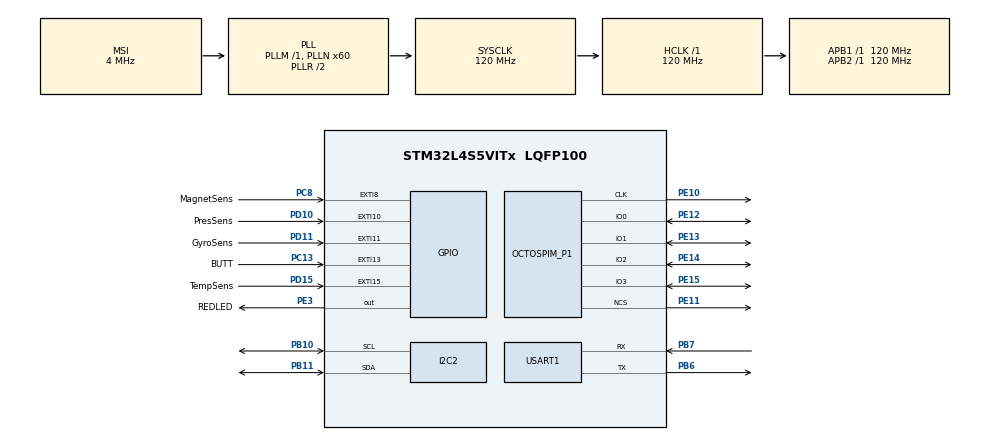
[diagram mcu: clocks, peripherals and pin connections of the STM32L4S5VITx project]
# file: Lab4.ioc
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FREERTOS.Tasks01=Read_Task,0,512,StartRead_Task,Default,NULL,Dynamic,NULL,NULL;UART_Transmit,0,512,StartUART_Transmit,Default,NULL,Dynamic,NULL,NULL;Button_Task,0,512,StartButton_Task,Default,NULL,Dynamic,NULL,NULL
FREERTOS.configTOTAL_HEAP_SIZE=8192
FREERTOS.configUSE_NEWLIB_REENTRANT=1
I2C2.Timing=0x307075B1
Mcu.Family=STM32L4
Mcu.Name=STM32L4S5VITx
Mcu.Package=LQFP100
NVIC.EXTI15_10_IRQn=true\:5\:0\:false\:false\:true\:true\:true\:true\:true
NVIC.PriorityGroup=NVIC_PRIORITYGROUP_4
NVIC.TIM6_DAC_IRQn=true\:15\:0\:true\:false\:true\:false\:false\:true\:true
NVIC.TimeBase=TIM6_DAC_IRQn
NVIC.TimeBaseIP=TIM6
PB10.Mode=I2C
PB10.Signal=I2C2_SCL
PB11.Mode=I2C
PB11.Signal=I2C2_SDA
PB6.Mode=Asynchronous
PB6.Signal=USART1_TX
PB7.Mode=Asynchronous
PB7.Signal=USART1_RX
PC13.GPIO_Label=BUTT
PC13.Signal=GPXTI13
PC8.GPIO_Label=MagnetSens
PC8.Signal=GPXTI8
PD10.GPIO_Label=PresSens
PD10.Signal=GPXTI10
PD11.GPIO_Label=GyroSens
PD11.Signal=GPXTI11
PD15.GPIO_Label=TempSens
PD15.Signal=GPXTI15
PE10.Mode=O1_P1_CLK
PE10.Signal=OCTOSPIM_P1_CLK
PE11.Mode=OCTOSPI1_Port1_NCS
PE11.Signal=OCTOSPIM_P1_NCS
PE12.Mode=OCTOSPI1_IOL_Port1L
PE12.Signal=OCTOSPIM_P1_IO0
PE13.Mode=OCTOSPI1_IOL_Port1L
PE13.Signal=OCTOSPIM_P1_IO1
PE14.Mode=OCTOSPI1_IOL_Port1L
PE14.Signal=OCTOSPIM_P1_IO2
PE15.Mode=OCTOSPI1_IOL_Port1L
PE15.Signal=OCTOSPIM_P1_IO3
PE3.GPIO_Label=REDLED
PE3.Signal=GPIO_Output
ProjectManager.HeapSize=0x200
ProjectManager.StackSize=0x400
ProjectManager.TargetToolchain=STM32CubeIDE
RCC.ADCFreq_Value=48000000
RCC.AHBFreq_Value=120000000
RCC.APB1Freq_Value=120000000
RCC.APB1TimFreq_Value=120000000
RCC.APB2Freq_Value=120000000
RCC.APB2TimFreq_Value=120000000
RCC.CortexFreq_Value=120000000
RCC.HCLKFreq_Value=120000000
RCC.HSE_VALUE=8000000
RCC.HSI48_VALUE=48000000
RCC.HSI_VALUE=16000000
RCC.LSE_VALUE=32768
RCC.MSI_VALUE=4000000
RCC.PLLN=60
RCC.PLLSAI1N=24
RCC.SYSCLKFreq_VALUE=120000000
RCC.SYSCLKSource=RCC_SYSCLKSOURCE_PLLCLK
RCC.USBFreq_Value=48000000
RCC.VCOOutputFreq_Value=240000000
USART1.VirtualMode-Asynchronous=VM_ASYNC
VP_FREERTOS_VS_CMSIS_V1.Mode=CMSIS_V1
VP_OCTOSPI1_VS_quad.Mode=quad_mode
VP_SYS_VS_tim6.Mode=TIM6
board=B-L4S5I-IOT01A

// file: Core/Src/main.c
/* USER CODE BEGIN Header */
/**
  ******************************************************************************
  * @file           : main.c
  * @brief          : Main program body
  ******************************************************************************
  * @attention
  *
  * Copyright (c) 2023 STMicroelectronics.
  * All rights reserved.
  *
  * This software is licensed under terms that can be found in the LICENSE file
  * in the root directory of this software component.
  * If no LICENSE file comes with this software, it is provided AS-IS.
  *
  ******************************************************************************
  */
/* USER CODE END Header */
#include "main.h"
#include "cmsis_os.h"

/* USER CODE BEGIN Includes */
#include "stdio.h"
#include "string.h"
#include "stdlib.h"
#include "stm32l4s5i_iot01_tsensor.h"
#include "stm32l4s5i_iot01_magneto.h"
#include "stm32l4s5i_iot01_psensor.h"
#include "stm32l4s5i_iot01_accelero.h"

#include "stm32l4s5i_iot01_qspi.h"
/* USER CODE END Includes */

/* USER CODE BEGIN PD */
#define MEMORY_WRITE_ADDR	0x08000020UL

/* USER CODE END PD */

I2C_HandleTypeDef hi2c2;

OSPI_HandleTypeDef hospi1;

UART_HandleTypeDef huart1;

osThreadId Read_TaskHandle;
osThreadId UART_TransmitHandle;
osThreadId Button_TaskHandle;
/* USER CODE BEGIN PV */

/**************************** PART 1 AND PART 2 VARIABLES ******************/
uint8_t txbuffer[64];

int sensorNum = 0;

float temp;
int16_t magnet[3];
float pressure;
int16_t accel[3];

/**************************** PART 3 VARIABLES ****************************/
uint8_t *writeBuf = "6";

/**************************** PART 4 VARIABLES ****************************/

uint8_t tempBuf[11];
uint8_t tempBuf2[50];
uint8_t tempBuf3[250];
long tempWriteCnt = 0;
long tempReadCnt = 0;
int tempVals = 0;
float tempAvg = 0;
float tempSum = 0;
float tempVariance = 0;
uint8_t readBufTemp[11];

uint8_t magnetBufX[5];
uint8_t magnetBufY[5];
uint8_t magnetBufZ[5];
uint8_t magnetBuf2[60];
uint8_t magnetBuf3[350];
long magnetWriteCntX = 4096;
long magnetWriteCntY = 5461;
long magnetWriteCntZ = 6826;
long magnetReadCntX = 4096;
long magnetReadCntY = 5461;
long magnetReadCntZ = 6826;
int magnetVals = 0;
float magnetAvgX = 0;
float magnetAvgY = 0;
float magnetAvgZ = 0;
float magnetSumX = 0;
float magnetSumY = 0;
float magnetSumZ = 0;
float magnetVarianceX = 0;
float magnetVarianceY = 0;
float magnetVarianceZ = 0;
uint8_t readBufMagnetX[5];
uint8_t readBufMagnetY[5];
uint8_t readBufMagnetZ[5];

uint8_t presBuf[11];
uint8_t presBuf2[50];
uint8_t presBuf3[200];
long presWriteCnt = 8192;
long presReadCnt = 8192;
int presVals = 0;
float presAvg = 0;
float presSum = 0;
float presVariance = 0;
uint8_t readBufPres[11];

uint8_t accelBufX[5];
uint8_t accelBufY[5];
uint8_t accelBufZ[5];
uint8_t accelBuf2[60];
uint8_t accelBuf3[250];
long accelWriteCntX = 12288;
long accelWriteCntY = 13653;
long accelWriteCntZ = 15018;
long accelReadCntX = 12288;
long accelReadCntY = 13653;
long accelReadCntZ = 15018;
int accelVals = 0;
float accelAvgX = 0;
float accelAvgY = 0;
float accelAvgZ = 0;
float accelSumX = 0;
float accelSumY = 0;
float accelSumZ = 0;
float accelVarianceX = 0;
float accelVarianceY = 0;
float accelVarianceZ = 0;
uint8_t readBufAccelX[5];
uint8_t readBufAccelY[5];
uint8_t readBufAccelZ[5];
/* USER CODE END PV */

void SystemClock_Config(void);
static void MX_GPIO_Init(void);
static void MX_I2C2_Init(void);
static void MX_USART1_UART_Init(void);
static void MX_OCTOSPI1_Init(void);
void StartRead_Task(void const * argument);
void StartUART_Transmit(void const * argument);
void StartButton_Task(void const * argument);

int main(void)
{

  /* MCU Configuration--------------------------------------------------------*/

  /* Reset of all peripherals, Initializes the Flash interface and the Systick. */
  HAL_Init();

  /* Configure the system clock */
  SystemClock_Config();

  /* Initialize all configured peripherals */
  MX_GPIO_Init();
  MX_I2C2_Init();
  MX_USART1_UART_Init();
  MX_OCTOSPI1_Init();
  /* USER CODE BEGIN 2 */

  /* Initialize BSP Peripherals */
  if(BSP_TSENSOR_Init() != TSENSOR_OK){
	  Error_Handler();
  }
  if(BSP_MAGNETO_Init() != MAGNETO_OK){
	  Error_Handler();
  }
  if(BSP_PSENSOR_Init() != PSENSOR_OK){
	  Error_Handler();
  }
  if(BSP_ACCELERO_Init() != ACCELERO_OK){
	  Error_Handler();
  }

  /* Initialize QSPI */
  if(BSP_QSPI_Init() != QSPI_OK){
	  Error_Handler();
  }

  HAL_GPIO_WritePin(REDLED_GPIO_Port, REDLED_Pin, GPIO_PIN_SET);

  //Clear sector for temp values
  if (BSP_QSPI_Erase_Block(0) != QSPI_OK){
      Error_Handler();
  }

  /* USER CODE END 2 */

  /* Create the thread(s) */
  /* definition and creation of Read_Task */
  osThreadDef(Read_Task, StartRead_Task, osPriorityNormal, 0, 512);
  Read_TaskHandle = osThreadCreate(osThread(Read_Task), NULL);

  /* definition and creation of UART_Transmit */
  osThreadDef(UART_Transmit, StartUART_Transmit, osPriorityNormal, 0, 512);
  UART_TransmitHandle = osThreadCreate(osThread(UART_Transmit), NULL);

  /* definition and creation of Button_Task */
  osThreadDef(Button_Task, StartButton_Task, osPriorityNormal, 0, 512);
  Button_TaskHandle = osThreadCreate(osThread(Button_Task), NULL);

  /* Start scheduler */
  osKernelStart();

  /* We should never get here as control is now taken by the scheduler */
  /* Infinite loop */
  /* USER CODE BEGIN WHILE */

  //HAL_GPIO_WritePin(REDLED_GPIO_Port, REDLED_Pin, GPIO_PIN_RESET);

//  if (BSP_QSPI_Erase_Block(0) != QSPI_OK){
//	  Error_Handler();
//  }
//
//  if (BSP_QSPI_Write(writeBuf, 0, strlen(writeBuf)) != QSPI_OK){
//	  Error_Handler();
//  }
//
//  if (BSP_QSPI_Read(readBuf, 0, strlen((char*)writeBuf)) != QSPI_OK){
//	  Error_Handler();
//  }
//  HAL_UART_Transmit(&huart1, readBuf, strlen((char*)readBuf), HAL_MAX_DELAY);
  while (1)
  {
    /* USER CODE END WHILE */

    /* USER CODE BEGIN 3 */
//	  // If 0, Temperature sensor is active
//	  if(sensorNum == 0){
//		  temp = BSP_TSENSOR_ReadTemp();
//		  sprintf((char*)txbuffer, "Temperature: %f\r\n", temp);
//		  HAL_UART_Transmit(&huart1, txbuffer, strlen((char*)txbuffer), HAL_MAX_DELAY);
//	  }
//	  // If 1, Magnetometer is active
//	  if(sensorNum == 1){
//		  BSP_MAGNETO_GetXYZ(magnet);
//		  sprintf((char*)txbuffer, "Magnetometer: %d, %d, %d\r\n", magnet[0], magnet[1], magnet[2]);
//		  HAL_UART_Transmit(&huart1, txbuffer, strlen((char*)txbuffer), HAL_MAX_DELAY);
//	  }
//	  // If 2, Pressure sensor is active
//	  if(sensorNum == 2){
//		  pressure = BSP_PSENSOR_ReadPressure();
//		  sprintf((char*)txbuffer, "Pressure: %f\r\n", pressure);
//		  HAL_UART_Transmit(&huart1, txbuffer, strlen((char*)txbuffer), HAL_MAX_DELAY);
//	  }
//	  // If 3, Accelerometer is active
//	  if(sensorNum == 3){
//		  BSP_ACCELERO_AccGetXYZ(accel);
//		  sprintf((char*)txbuffer, "Accelerometer: %d, %d, %d\r\n", accel[0], accel[1], accel[2]);
//		  HAL_UART_Transmit(&huart1, txbuffer, strlen((char*)txbuffer), HAL_MAX_DELAY);
//	  }
//	  HAL_Delay(100);

	  /************* PART 4 TESTING **********************/
//	  if(dataMode == 0){
//		  temp = BSP_TSENSOR_ReadTemp();
//		  sprintf((char*)tempBuf, "%f\r\n", temp);
//		  HAL_UART_Transmit(&huart1, tempBuf, strlen((char*)tempBuf), HAL_MAX_DELAY);
//	  }
	  //HAL_Delay(100);

  }
  /* USER CODE END 3 */
}

void SystemClock_Config(void)
{
  RCC_OscInitTypeDef RCC_OscInitStruct = {0};
  RCC_ClkInitTypeDef RCC_ClkInitStruct = {0};

  /** Configure the main internal regulator output voltage
  */
  if (HAL_PWREx_ControlVoltageScaling(PWR_REGULATOR_VOLTAGE_SCALE1_BOOST) != HAL_OK)
  {
    Error_Handler();
  }

  /** Initializes the RCC Oscillators according to the specified parameters
  * in the RCC_OscInitTypeDef structure.
  */
  RCC_OscInitStruct.OscillatorType = RCC_OSCILLATORTYPE_MSI;
  RCC_OscInitStruct.MSIState = RCC_MSI_ON;
  RCC_OscInitStruct.MSICalibrationValue = 0;
  RCC_OscInitStruct.MSIClockRange = RCC_MSIRANGE_6;
  RCC_OscInitStruct.PLL.PLLState = RCC_PLL_ON;
  RCC_OscInitStruct.PLL.PLLSource = RCC_PLLSOURCE_MSI;
  RCC_OscInitStruct.PLL.PLLM = 1;
  RCC_OscInitStruct.PLL.PLLN = 60;
  RCC_OscInitStruct.PLL.PLLP = RCC_PLLP_DIV2;
  RCC_OscInitStruct.PLL.PLLQ = RCC_PLLQ_DIV2;
  RCC_OscInitStruct.PLL.PLLR = RCC_PLLR_DIV2;
  if (HAL_RCC_OscConfig(&RCC_OscInitStruct) != HAL_OK)
  {
    Error_Handler();
  }

  /** Initializes the CPU, AHB and APB buses clocks
  */
  RCC_ClkInitStruct.ClockType = RCC_CLOCKTYPE_HCLK|RCC_CLOCKTYPE_SYSCLK
                              |RCC_CLOCKTYPE_PCLK1|RCC_CLOCKTYPE_PCLK2;
  RCC_ClkInitStruct.SYSCLKSource = RCC_SYSCLKSOURCE_PLLCLK;
  RCC_ClkInitStruct.AHBCLKDivider = RCC_SYSCLK_DIV1;
  RCC_ClkInitStruct.APB1CLKDivider = RCC_HCLK_DIV1;
  RCC_ClkInitStruct.APB2CLKDivider = RCC_HCLK_DIV1;

  if (HAL_RCC_ClockConfig(&RCC_ClkInitStruct, FLASH_LATENCY_5) != HAL_OK)
  {
    Error_Handler();
  }
}

static void MX_I2C2_Init(void)
{

  hi2c2.Instance = I2C2;
  hi2c2.Init.Timing = 0x307075B1;
  hi2c2.Init.OwnAddress1 = 0;
  hi2c2.Init.AddressingMode = I2C_ADDRESSINGMODE_7BIT;
  hi2c2.Init.DualAddressMode = I2C_DUALADDRESS_DISABLE;
  hi2c2.Init.OwnAddress2 = 0;
  hi2c2.Init.OwnAddress2Masks = I2C_OA2_NOMASK;
  hi2c2.Init.GeneralCallMode = I2C_GENERALCALL_DISABLE;
  hi2c2.Init.NoStretchMode = I2C_NOSTRETCH_DISABLE;
  if (HAL_I2C_Init(&hi2c2) != HAL_OK)
  {
    Error_Handler();
  }

  /** Configure Analogue filter
  */
  if (HAL_I2CEx_ConfigAnalogFilter(&hi2c2, I2C_ANALOGFILTER_ENABLE) != HAL_OK)
  {
    Error_Handler();
  }

  /** Configure Digital filter
  */
  if (HAL_I2CEx_ConfigDigitalFilter(&hi2c2, 0) != HAL_OK)
  {
    Error_Handler();
  }

}

static void MX_OCTOSPI1_Init(void)
{

  OSPIM_CfgTypeDef OSPIM_Cfg_Struct = {0};

  /* OCTOSPI1 parameter configuration*/
  hospi1.Instance = OCTOSPI1;
  hospi1.Init.FifoThreshold = 1;
  hospi1.Init.DualQuad = HAL_OSPI_DUALQUAD_DISABLE;
  hospi1.Init.MemoryType = HAL_OSPI_MEMTYPE_MICRON;
  hospi1.Init.DeviceSize = 32;
  hospi1.Init.ChipSelectHighTime = 1;
  hospi1.Init.FreeRunningClock = HAL_OSPI_FREERUNCLK_DISABLE;
  hospi1.Init.ClockMode = HAL_OSPI_CLOCK_MODE_0;
  hospi1.Init.ClockPrescaler = 1;
  hospi1.Init.SampleShifting = HAL_OSPI_SAMPLE_SHIFTING_NONE;
  hospi1.Init.DelayHoldQuarterCycle = HAL_OSPI_DHQC_DISABLE;
  hospi1.Init.ChipSelectBoundary = 0;
  hospi1.Init.DelayBlockBypass = HAL_OSPI_DELAY_BLOCK_BYPASSED;
  if (HAL_OSPI_Init(&hospi1) != HAL_OK)
  {
    Error_Handler();
  }
  OSPIM_Cfg_Struct.ClkPort = 1;
  OSPIM_Cfg_Struct.NCSPort = 1;
  OSPIM_Cfg_Struct.IOLowPort = HAL_OSPIM_IOPORT_1_LOW;
  if (HAL_OSPIM_Config(&hospi1, &OSPIM_Cfg_Struct, HAL_OSPI_TIMEOUT_DEFAULT_VALUE) != HAL_OK)
  {
    Error_Handler();
  }

}

static void MX_USART1_UART_Init(void)
{

  huart1.Instance = USART1;
  huart1.Init.BaudRate = 115200;
  huart1.Init.WordLength = UART_WORDLENGTH_8B;
  huart1.Init.StopBits = UART_STOPBITS_1;
  huart1.Init.Parity = UART_PARITY_NONE;
  huart1.Init.Mode = UART_MODE_TX_RX;
  huart1.Init.HwFlowCtl = UART_HWCONTROL_NONE;
  huart1.Init.OverSampling = UART_OVERSAMPLING_16;
  huart1.Init.OneBitSampling = UART_ONE_BIT_SAMPLE_DISABLE;
  huart1.Init.ClockPrescaler = UART_PRESCALER_DIV1;
  huart1.AdvancedInit.AdvFeatureInit = UART_ADVFEATURE_NO_INIT;
  if (HAL_UART_Init(&huart1) != HAL_OK)
  {
    Error_Handler();
  }
  if (HAL_UARTEx_SetTxFifoThreshold(&huart1, UART_TXFIFO_THRESHOLD_1_8) != HAL_OK)
  {
    Error_Handler();
  }
  if (HAL_UARTEx_SetRxFifoThreshold(&huart1, UART_RXFIFO_THRESHOLD_1_8) != HAL_OK)
  {
    Error_Handler();
  }
  if (HAL_UARTEx_DisableFifoMode(&huart1) != HAL_OK)
  {
    Error_Handler();
  }

}

static void MX_GPIO_Init(void)
{
  GPIO_InitTypeDef GPIO_InitStruct = {0};

  /* GPIO Ports Clock Enable */
  __HAL_RCC_GPIOE_CLK_ENABLE();
  __HAL_RCC_GPIOC_CLK_ENABLE();
  __HAL_RCC_GPIOB_CLK_ENABLE();
  __HAL_RCC_GPIOD_CLK_ENABLE();

  /*Configure GPIO pin Output Level */
  HAL_GPIO_WritePin(REDLED_GPIO_Port, REDLED_Pin, GPIO_PIN_RESET);

  /*Configure GPIO pin : REDLED_Pin */
  GPIO_InitStruct.Pin = REDLED_Pin;
  GPIO_InitStruct.Mode = GPIO_MODE_OUTPUT_PP;
  GPIO_InitStruct.Pull = GPIO_NOPULL;
  GPIO_InitStruct.Speed = GPIO_SPEED_FREQ_LOW;
  HAL_GPIO_Init(REDLED_GPIO_Port, &GPIO_InitStruct);

  /*Configure GPIO pins : BUTT_Pin MagnetSens_Pin */
  GPIO_InitStruct.Pin = BUTT_Pin|MagnetSens_Pin;
  GPIO_InitStruct.Mode = GPIO_MODE_IT_RISING;
  GPIO_InitStruct.Pull = GPIO_NOPULL;
  HAL_GPIO_Init(GPIOC, &GPIO_InitStruct);

  /*Configure GPIO pins : PresSens_Pin GyroSens_Pin TempSens_Pin */
  GPIO_InitStruct.Pin = PresSens_Pin|GyroSens_Pin|TempSens_Pin;
  GPIO_InitStruct.Mode = GPIO_MODE_IT_RISING;
  GPIO_InitStruct.Pull = GPIO_NOPULL;
  HAL_GPIO_Init(GPIOD, &GPIO_InitStruct);

  /* EXTI interrupt init*/
  HAL_NVIC_SetPriority(EXTI15_10_IRQn, 5, 0);
  HAL_NVIC_EnableIRQ(EXTI15_10_IRQn);

}

void StartRead_Task(void const * argument)
{
  /* USER CODE BEGIN 5 */
  /* Infinite loop */
  for(;;)
  {
    osDelay(100);
    if(sensorNum != 4){

    	// entering temperature values in flash
    	temp = BSP_TSENSOR_ReadTemp();

    	sprintf((char*)tempBuf, "%f", temp);

    	if(tempWriteCnt >= 4081) {
    		if (BSP_QSPI_Erase_Block(0) != QSPI_OK){
    			Error_Handler();
    		}
    		tempWriteCnt = 0;
    		tempVals = 0;

    		magnetWriteCntX = 4096;
    		magnetWriteCntY = 5461;
    		magnetWriteCntZ = 6826;
    		magnetVals = 0;

    		presWriteCnt = 8192;
    		presVals = 0;

    		accelWriteCntX = 12288;
    		accelWriteCntY = 13653;
    		accelWriteCntZ = 15018;
    		accelVals = 0;
    	}

    	if (BSP_QSPI_Write(tempBuf, tempWriteCnt, 11) != QSPI_OK){
    		Error_Handler();
    	}

    	tempWriteCnt += 11;

    	if (tempVals < 371) tempVals++;

    	//Entering magnet values in flash
    	BSP_MAGNETO_GetXYZ(magnet);

    	sprintf((char*)magnetBufX, "%d", magnet[0]);
    	sprintf((char*)magnetBufY, "%d", magnet[1]);
    	sprintf((char*)magnetBufZ, "%d", magnet[2]);

    	if(magnetWriteCntX >= 5456) {
    		if (BSP_QSPI_Erase_Block(0) != QSPI_OK){
    			Error_Handler();
    		}
    		tempWriteCnt = 0;
    		tempVals = 0;

    		magnetWriteCntX = 4096;
    		magnetWriteCntY = 5461;
    		magnetWriteCntZ = 6826;
    		magnetVals = 0;

    		presWriteCnt = 8192;
    		presVals = 0;

    		accelWriteCntX = 12288;
    		accelWriteCntY = 13653;
    		accelWriteCntZ = 15018;
    		accelVals = 0;
    	}

    	if(magnetWriteCntY >= 6821) {
    		if (BSP_QSPI_Erase_Block(0) != QSPI_OK){
    		    Error_Handler();
    		}
    		tempWriteCnt = 0;
    		tempVals = 0;

    		magnetWriteCntX = 4096;
    		magnetWriteCntY = 5461;
    		magnetWriteCntZ = 6826;
    		magnetVals = 0;

    		presWriteCnt = 8192;
    		presVals = 0;

    		accelWriteCntX = 12288;
    		accelWriteCntY = 13653;
    		accelWriteCntZ = 15018;
    		accelVals = 0;
    	}

    	if(magnetWriteCntZ >= 8186) {
    		if (BSP_QSPI_Erase_Block(0) != QSPI_OK){
    		    Error_Handler();
    		}
    		tempWriteCnt = 0;
    		tempVals = 0;

    		magnetWriteCntX = 4096;
    		magnetWriteCntY = 5461;
    		magnetWriteCntZ = 6826;
    		magnetVals = 0;

    		presWriteCnt = 8192;
    		presVals = 0;

    		accelWriteCntX = 12288;
    		accelWriteCntY = 13653;
    		accelWriteCntZ = 15018;
    		accelVals = 0;
    	}

    	if (BSP_QSPI_Write(magnetBufX, magnetWriteCntX, 5) != QSPI_OK){
    		Error_Handler();
    	}
    	if (BSP_QSPI_Write(magnetBufY, magnetWriteCntY, 5) != QSPI_OK){
    		Error_Handler();
    	}
    	if (BSP_QSPI_Write(magnetBufZ, magnetWriteCntZ, 5) != QSPI_OK){
    		Error_Handler();
    	}

    	magnetWriteCntX += 5;
    	magnetWriteCntY += 5;
    	magnetWriteCntZ += 5;

    	if(magnetVals < 272) magnetVals++;

    	// Entering pressure values in flash

    	pressure = BSP_PSENSOR_ReadPressure();

    	sprintf((char*)presBuf, "%f", pressure);

    	if(presWriteCnt >= 12276) {
    		if (BSP_QSPI_Erase_Block(0) != QSPI_OK){
    		    Error_Handler();
    		}
    		tempWriteCnt = 0;
    		tempVals = 0;

    		magnetWriteCntX = 4096;
    		magnetWriteCntY = 5461;
    		magnetWriteCntZ = 6826;
    		magnetVals = 0;

    		presWriteCnt = 8192;
    		presVals = 0;

    		accelWriteCntX = 12288;
    		accelWriteCntY = 13653;
    		accelWriteCntZ = 15018;
    		accelVals = 0;
    	}

    	if (BSP_QSPI_Write(presBuf, presWriteCnt, 11) != QSPI_OK){
    		Error_Handler();
    	}

    	presWriteCnt += 11;

    	if (presVals < 371) presVals++;

    	// Entering accel values in flash

    	BSP_ACCELERO_AccGetXYZ(accel);

    	sprintf((char*)accelBufX, "%d", accel[0]);
    	sprintf((char*)accelBufY, "%d", accel[1]);
    	sprintf((char*)accelBufZ, "%d", accel[2]);

    	if(accelWriteCntX >= 13648) {
    		if (BSP_QSPI_Erase_Block(0) != QSPI_OK){
    		    Error_Handler();
    		}
    		tempWriteCnt = 0;
    		tempVals = 0;

    		magnetWriteCntX = 4096;
    		magnetWriteCntY = 5461;
    		magnetWriteCntZ = 6826;
    		magnetVals = 0;

    		presWriteCnt = 8192;
    		presVals = 0;

    		accelWriteCntX = 12288;
    		accelWriteCntY = 13653;
    		accelWriteCntZ = 15018;
    		accelVals = 0;
    	}
    	if(accelWriteCntY >= 15013) {
    		if (BSP_QSPI_Erase_Block(0) != QSPI_OK){
    		    Error_Handler();
    		}
    		tempWriteCnt = 0;
    		tempVals = 0;

    		magnetWriteCntX = 4096;
    		magnetWriteCntY = 5461;
    		magnetWriteCntZ = 6826;
    		magnetVals = 0;

    		presWriteCnt = 8192;
    		presVals = 0;

    		accelWriteCntX = 12288;
    		accelWriteCntY = 13653;
    		accelWriteCntZ = 15018;
    		accelVals = 0;
    	}
    	if(accelWriteCntZ >= 16378) {
    		if (BSP_QSPI_Erase_Block(0) != QSPI_OK){
    		    Error_Handler();
    		}
    		tempWriteCnt = 0;
    		tempVals = 0;

    		magnetWriteCntX = 4096;
    		magnetWriteCntY = 5461;
    		magnetWriteCntZ = 6826;
    		magnetVals = 0;

    		presWriteCnt = 8192;
    		presVals = 0;

    		accelWriteCntX = 12288;
    		accelWriteCntY = 13653;
    		accelWriteCntZ = 15018;
    		accelVals = 0;
    	}

    	if (BSP_QSPI_Write(accelBufX, accelWriteCntX, 5) != QSPI_OK){
    	    Error_Handler();
    	}
    	if (BSP_QSPI_Write(accelBufY, accelWriteCntY, 5) != QSPI_OK){
    	    Error_Handler();
    	}
    	if (BSP_QSPI_Write(accelBufZ, accelWriteCntZ, 5) != QSPI_OK){
    	    Error_Handler();
    	}

    	accelWriteCntX += 5;
    	accelWriteCntY += 5;
    	accelWriteCntZ += 5;

    	if(accelVals < 272) accelVals++;
  	  }

  }
  /* USER CODE END 5 */
}

void StartUART_Transmit(void const * argument)
{
  /* USER CODE BEGIN StartUART_Transmit */
  /* Infinite loop */
  for(;;)
  {
    osDelay(100);

    tempSum = 0;
    tempVariance = 0;
    tempReadCnt = 0;

    magnetSumX = 0;
    magnetSumY = 0;
    magnetSumZ = 0;
    magnetVarianceX = 0;
    magnetVarianceY = 0;
    magnetVarianceZ = 0;
    magnetReadCntX = 4096;
    magnetReadCntY = 5461;
    magnetReadCntZ = 6826;

    presSum = 0;
    presVariance = 0;
    presReadCnt = 8192;

    accelSumX = 0;
    accelSumY = 0;
    accelSumZ = 0;
    accelVarianceX = 0;
    accelVarianceY = 0;
    accelVarianceZ = 0;
    accelReadCntX = 12288;
    accelReadCntY = 13653;
    accelReadCntZ = 15018;

    // If 0, Temperature sensor is active
    if(sensorNum == 0){
    	sprintf((char*)tempBuf2, "Temperature: %f\r\n", temp);
    	HAL_UART_Transmit(&huart1, tempBuf2, sizeof(tempBuf2), HAL_MAX_DELAY);
    }
    // If 1, Magnetometer is active
    if(sensorNum == 1){
    	sprintf((char*)magnetBuf2, "Magnetometer: %d, %d, %d\r\n", magnet[0], magnet[1], magnet[2]);
    	HAL_UART_Transmit(&huart1, magnetBuf2, sizeof(magnetBuf2), HAL_MAX_DELAY);
    }
    // If 2, Pressure sensor is active
    if(sensorNum == 2){
    	sprintf((char*)presBuf2, "Pressure: %f\r\n", pressure);
       	HAL_UART_Transmit(&huart1, presBuf2, sizeof(presBuf2), HAL_MAX_DELAY);
    }
    // If 3, Accelerometer is active
    if(sensorNum == 3){
    	sprintf((char*)accelBuf2, "Accelerometer: %d, %d, %d\r\n", accel[0], accel[1], accel[2]);
       	HAL_UART_Transmit(&huart1, accelBuf2, sizeof(accelBuf2), HAL_MAX_DELAY);
    }
    // If 4, Information for sensors
    if(sensorNum == 4){

    	/************************************************** TEMPERATURE SENSOR UART OUTPUT COMPUTATIONS *********************************/

    	for(int i = 0; i < tempVals; i++){
    		if (BSP_QSPI_Read(readBufTemp, tempReadCnt, 11) != QSPI_OK){
    	    	Error_Handler();
    		}

    	    tempSum += atof(readBufTemp);
    	    tempReadCnt+=11;
    	}

    	if(tempVals == 0){
    		tempAvg = 0;
    	}
    	else{
    		tempAvg = tempSum/tempVals;
    	}

    	tempReadCnt = 0;

    	for(int i = 0; i < tempVals; i++){
    	    		if (BSP_QSPI_Read(readBufTemp, tempReadCnt, 11) != QSPI_OK){
    	    	    	Error_Handler();
    	    		}

    	    	    tempVariance += (atof(readBufTemp) - tempAvg) * (atof(readBufTemp)- tempAvg);
    	    	    tempReadCnt+=11;
    	    	}
    	if(tempVals > 1){
    		tempVariance = tempVariance/(tempVals - 1);
    	}
    	else{
    		tempVariance = 0;
    	}

    	sprintf((char*)tempBuf3, "Number of Measurements: %d, Average temperature: %f, Variance: %f\r\n", tempVals, tempAvg, tempVariance);
    	HAL_UART_Transmit(&huart1, tempBuf3, sizeof(tempBuf3), HAL_MAX_DELAY);

    	/************************************************** MAGNETOMETER UART OUTPUT COMPUTATIONS *********************************/

    	for(int i = 0; i < magnetVals; i++){
    		if (BSP_QSPI_Read(readBufMagnetX, magnetReadCntX, 5) != QSPI_OK){
    			Error_Handler();
    		}
    		if (BSP_QSPI_Read(readBufMagnetY, magnetReadCntY, 5) != QSPI_OK){
    			Error_Handler();
    		}
    		if (BSP_QSPI_Read(readBufMagnetZ, magnetReadCntZ, 5) != QSPI_OK){
    			Error_Handler();
    		}

    		magnetSumX += atof(readBufMagnetX);
    		magnetSumY += atof(readBufMagnetY);
    		magnetSumZ += atof(readBufMagnetZ);

    		magnetReadCntX += 5;
    		magnetReadCntY += 5;
    		magnetReadCntZ += 5;
    	}
    	if(magnetVals == 0){
    		magnetAvgX = 0;
    		magnetAvgY = 0;
    		magnetAvgZ = 0;
    	}
    	else{
			magnetAvgX = magnetSumX/magnetVals;
			magnetAvgY = magnetSumY/magnetVals;
			magnetAvgZ = magnetSumZ/magnetVals;
    	}

    	magnetReadCntX = 4096;
    	magnetReadCntY = 5461;
    	magnetReadCntZ = 6826;

    	for(int i = 0; i < magnetVals; i++){
    		if (BSP_QSPI_Read(readBufMagnetX, magnetReadCntX, 5) != QSPI_OK){
    	    	Error_Handler();
    		}
    		if (BSP_QSPI_Read(readBufMagnetY, magnetReadCntY, 5) != QSPI_OK){
    	    	Error_Handler();
    		}
    		if (BSP_QSPI_Read(readBufMagnetZ, magnetReadCntZ, 5) != QSPI_OK){
    	    	Error_Handler();
    		}

    		magnetVarianceX += (atof(readBufMagnetX) - magnetAvgX) * (atof(readBufMagnetX) - magnetAvgX);
    		magnetVarianceY += (atof(readBufMagnetY) - magnetAvgY) * (atof(readBufMagnetY) - magnetAvgY);
    		magnetVarianceZ += (atof(readBufMagnetZ) - magnetAvgZ) * (atof(readBufMagnetZ) - magnetAvgZ);

    		magnetReadCntX += 5;
    		magnetReadCntY += 5;
    		magnetReadCntZ += 5;
    	}
    	if(magnetVals > 1){
			magnetVarianceX = magnetVarianceX/(magnetVals-1);
			magnetVarianceY = magnetVarianceY/(magnetVals-1);
			magnetVarianceZ = magnetVarianceZ/(magnetVals-1);
    	}
    	else{
    		magnetVarianceX = 0;
    		magnetVarianceY = 0;
    		magnetVarianceZ = 0;
    	}

    	sprintf((char*)magnetBuf3, "Number of Measurements: %d, Average magnetometer reading: %f, %f, %f, Variance is: %f, %f, %f\r\n", magnetVals, magnetAvgX, magnetAvgY, magnetAvgZ, magnetVarianceX, magnetVarianceY, magnetVarianceZ);
    	HAL_UART_Transmit(&huart1, magnetBuf3, sizeof(magnetBuf3), HAL_MAX_DELAY);

    	/************************************************** PRESSURE SENSOR UART OUTPUT COMPUTATIONS *********************************/

    	for(int i = 0; i < presVals; i++){
    	   if (BSP_QSPI_Read(readBufPres, presReadCnt, 11) != QSPI_OK){
    		   Error_Handler();
    	   }

    	   presSum += atof(readBufPres);
    	   presReadCnt+=11;
    	}
    	if(presVals == 0){
    		presAvg = 0;
    	}
    	else{
			presAvg = presSum/presVals;
    	}

    	presReadCnt = 0;
    	for(int i = 0; i < presVals; i++){
    		if (BSP_QSPI_Read(readBufPres, presReadCnt, 11) != QSPI_OK){
    			Error_Handler();
    	    }

    		presVariance += (atof(readBufPres) - presAvg) * (atof(readBufPres)- presAvg);
    	    presReadCnt+=11;
    	}

    	if(presVals > 1){
			presVariance = presVariance/(presVals - 1);
    	}
    	else{
    		presVariance = 0;
    	}
    	sprintf((char*)presBuf3, "Number of Measurements: %d, Average Pressure: %f, Pressure Variance: %f\r\n", presVals, presAvg, presVariance);
    	HAL_UART_Transmit(&huart1, presBuf3, sizeof(presBuf3), HAL_MAX_DELAY);

    	/************************************************** ACCELEROMETER UART OUTPUT COMPUTATIONS *********************************/

    	for(int i = 0; i < accelVals; i++){
    	    if (BSP_QSPI_Read(readBufAccelX, accelReadCntX, 5) != QSPI_OK){
    	        Error_Handler();
    	    }
    	    if (BSP_QSPI_Read(readBufAccelY, accelReadCntY, 5) != QSPI_OK){
    	        Error_Handler();
    	    }
    	    if (BSP_QSPI_Read(readBufAccelZ, accelReadCntZ, 5) != QSPI_OK){
    	        Error_Handler();
    	    }

    	    accelSumX += atof(readBufAccelX);
    	    accelSumY += atof(readBufAccelY);
    	    accelSumZ += atof(readBufAccelZ);

    	    accelReadCntX += 5;
    	    accelReadCntY += 5;
    	    accelReadCntZ += 5;
    	}

    	if(accelVals == 0){
    		accelAvgX = 0;
    		accelAvgY = 0;
    		accelAvgZ = 0;
    	}
    	else{
			accelAvgX = accelSumX/accelVals;
			accelAvgY = accelSumY/accelVals;
			accelAvgZ = accelSumZ/accelVals;
    	}

    	accelReadCntX = 12288;
    	accelReadCntY = 13653;
    	accelReadCntZ = 15018;

    	for(int i = 0; i < accelVals; i++){
    		if (BSP_QSPI_Read(readBufAccelX, accelReadCntX, 5) != QSPI_OK){
    			Error_Handler();
    	    }
    	    if (BSP_QSPI_Read(readBufAccelY, accelReadCntY, 5) != QSPI_OK){
    	    	Error_Handler();
    	    }
    	    if (BSP_QSPI_Read(readBufAccelZ, accelReadCntZ, 5) != QSPI_OK){
    	    	Error_Handler();
    	    }

    	    accelVarianceX += (atof(readBufAccelX) - accelAvgX) * (atof(readBufAccelX) - accelAvgX);
    	    accelVarianceY += (atof(readBufAccelY) - accelAvgY) * (atof(readBufAccelY) - accelAvgY);
    	    accelVarianceZ += (atof(readBufAccelZ) - accelAvgZ) * (atof(readBufAccelZ) - accelAvgZ);

    	    accelReadCntX += 5;
    	    accelReadCntY += 5;
    	    accelReadCntZ += 5;
    	}

    	if(accelVals > 1){
			accelVarianceX = accelVarianceX/(accelVals - 1);
			accelVarianceY = accelVarianceY/(accelVals - 1);
			accelVarianceZ = accelVarianceZ/(accelVals - 1);
    	}
    	else{
    		accelVarianceX = 0;
    		accelVarianceY = 0;
    		accelVarianceZ = 0;
    	}

    	sprintf((char*)accelBuf3, "Number of Measurements: %d, Average accelerometer reading: %f, %f, %f, Variance is: %f, %f, %f\r\n\n", accelVals, accelAvgX, accelAvgY, accelAvgZ, accelVarianceX, accelVarianceY, accelVarianceZ);
    	HAL_UART_Transmit(&huart1, accelBuf3, sizeof(accelBuf3), HAL_MAX_DELAY);
    }
  }
  /* USER CODE END StartUART_Transmit */
}

void StartButton_Task(void const * argument)
{
  /* USER CODE BEGIN StartButton_Task */
  /* Infinite loop */
  for(;;)
  {
    osDelay(100);
    if(HAL_GPIO_ReadPin(GPIOC, BUTT_Pin) == 0){
    	sensorNum++;
    	if(sensorNum == 5) sensorNum = 0;
    }
    HAL_Delay(150);
  }
  /* USER CODE END StartButton_Task */
}

void HAL_TIM_PeriodElapsedCallback(TIM_HandleTypeDef *htim)
{
  if (htim->Instance == TIM6) {
    HAL_IncTick();
  }
}

void Error_Handler(void)
{
  /* USER CODE BEGIN Error_Handler_Debug */
  /* User can add his own implementation to report the HAL error return state */

	HAL_GPIO_WritePin(REDLED_GPIO_Port, REDLED_Pin, GPIO_PIN_RESET);

  __disable_irq();
  while (1)
  {
  }
  /* USER CODE END Error_Handler_Debug */
}
